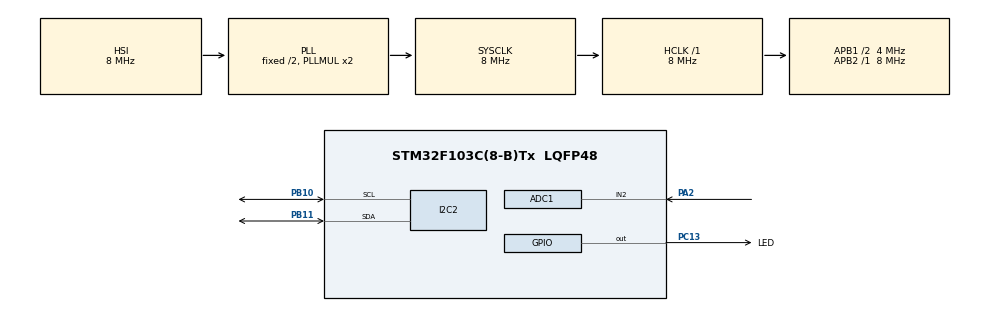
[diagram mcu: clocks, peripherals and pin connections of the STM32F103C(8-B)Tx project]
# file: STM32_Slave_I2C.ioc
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ADC1.Channel-4\#ChannelRegularConversion=ADC_CHANNEL_2
ADC1.ContinuousConvMode=ENABLE
ADC1.NbrOfConversionFlag=1
ADC1.Rank-4\#ChannelRegularConversion=1
ADC1.SamplingTime-4\#ChannelRegularConversion=ADC_SAMPLETIME_239CYCLES_5
ADC1.master=1
Dma.ADC1.0.Direction=DMA_PERIPH_TO_MEMORY
Dma.ADC1.0.Instance=DMA1_Channel1
Dma.ADC1.0.MemDataAlignment=DMA_MDATAALIGN_HALFWORD
Dma.ADC1.0.MemInc=DMA_MINC_ENABLE
Dma.ADC1.0.Mode=DMA_CIRCULAR
Dma.ADC1.0.PeriphDataAlignment=DMA_PDATAALIGN_HALFWORD
Dma.ADC1.0.PeriphInc=DMA_PINC_DISABLE
Dma.ADC1.0.Priority=DMA_PRIORITY_LOW
Dma.I2C2_TX.1.Direction=DMA_MEMORY_TO_PERIPH
Dma.I2C2_TX.1.Instance=DMA1_Channel4
Dma.I2C2_TX.1.MemDataAlignment=DMA_MDATAALIGN_BYTE
Dma.I2C2_TX.1.MemInc=DMA_MINC_ENABLE
Dma.I2C2_TX.1.Mode=DMA_NORMAL
Dma.I2C2_TX.1.PeriphDataAlignment=DMA_PDATAALIGN_BYTE
Dma.I2C2_TX.1.PeriphInc=DMA_PINC_DISABLE
Dma.I2C2_TX.1.Priority=DMA_PRIORITY_HIGH
Dma.Request0=ADC1
Dma.Request1=I2C2_TX
I2C2.GeneralCallMode=I2C_GENERALCALL_DISABLE
I2C2.I2C_Mode=I2C_Standard
I2C2.NoStretchMode=I2C_NOSTRETCH_DISABLE
I2C2.OwnAddress=26
Mcu.Family=STM32F1
Mcu.Name=STM32F103C(8-B)Tx
Mcu.Package=LQFP48
NVIC.DMA1_Channel1_IRQn=true\:0\:0\:false\:false\:true\:false\:true
NVIC.DMA1_Channel4_IRQn=true\:0\:0\:false\:false\:true\:false\:true
NVIC.I2C2_EV_IRQn=true\:1\:0\:true\:false\:true\:true\:true
NVIC.PriorityGroup=NVIC_PRIORITYGROUP_4
PA13.Mode=Serial_Wire
PA13.Signal=SYS_JTMS-SWDIO
PA14.Mode=Serial_Wire
PA14.Signal=SYS_JTCK-SWCLK
PA2.Signal=ADCx_IN2
PB10.Mode=I2C
PB10.Signal=I2C2_SCL
PB11.Mode=I2C
PB11.Signal=I2C2_SDA
PC13-TAMPER-RTC.GPIO_Label=LED
PC13-TAMPER-RTC.GPIO_ModeDefaultOutputPP=GPIO_MODE_OUTPUT_OD
PC13-TAMPER-RTC.GPIO_PuPd=GPIO_NOPULL
PC13-TAMPER-RTC.PinState=GPIO_PIN_SET
PC13-TAMPER-RTC.Signal=GPIO_Output
ProjectManager.HeapSize=0x200
ProjectManager.StackSize=0x400
ProjectManager.TargetToolchain=STM32CubeIDE
RCC.ADCPresc=RCC_ADCPCLK2_DIV6
RCC.AHBFreq_Value=8000000
RCC.APB1CLKDivider=RCC_HCLK_DIV2
RCC.APB1Freq_Value=4000000
RCC.APB1TimFreq_Value=8000000
RCC.APB2Freq_Value=8000000
RCC.APB2TimFreq_Value=8000000
RCC.HCLKFreq_Value=8000000
RCC.SYSCLKFreq_VALUE=8000000
RCC.SYSCLKSource=RCC_SYSCLKSOURCE_PLLCLK
RCC.USBFreq_Value=8000000
SH.ADCx_IN2.0=ADC1_IN2,IN2
board=custom

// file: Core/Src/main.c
/* USER CODE BEGIN Header */
/**
 ******************************************************************************
 * @file           : main.c
 * @brief          : Main program body
 ******************************************************************************
 * @attention
 *
 * Copyright (c) 2021 STMicroelectronics.
 * All rights reserved.
 *
 * This software is licensed under terms that can be found in the LICENSE file
 * in the root directory of this software component.
 * If no LICENSE file comes with this software, it is provided AS-IS.
 *
 ******************************************************************************
 */
/* USER CODE END Header */
#include "main.h"
#include "adc.h"
#include "dma.h"
#include "i2c.h"
#include "gpio.h"

/* USER CODE BEGIN PV */

typedef struct {

    bool ledState;
    uint8_t lastDoneCommandNum;
    float adcVoltage;
    int16_t adcValue;
} StructToTransmit;

StructToTransmit txStruct;

uint16_t adcReading;
uint8_t ledProgramm;

/* USER CODE END PV */

void SystemClock_Config(void);

int main(void)
{

  /* MCU Configuration--------------------------------------------------------*/

  /* Reset of all peripherals, Initializes the Flash interface and the Systick. */
  HAL_Init();

  /* Configure the system clock */
  SystemClock_Config();

  /* Initialize all configured peripherals */
  MX_GPIO_Init();
  MX_DMA_Init();
  MX_ADC1_Init();
  MX_I2C2_Init();
  /* USER CODE BEGIN 2 */

	HAL_ADC_Start_DMA(&hadc1, (uint32_t*) &adcReading, 1); // Start ADC with DMA on channel set in Cube.
	HAL_I2C_EnableListen_IT(&hi2c2); // Start listening for I2C master call.

	uint32_t ledTimer = uwTick;

  /* USER CODE END 2 */

  /* Infinite loop */
  /* USER CODE BEGIN WHILE */
	while (1) {

		switch (ledProgramm) {

		case 1:
			HAL_GPIO_WritePin(LED_GPIO_Port, LED_Pin, 1);
			break;

		case 2:
			HAL_GPIO_WritePin(LED_GPIO_Port, LED_Pin, 0);
			break;

		case 123:

			if (uwTick - ledTimer > 1000) {

				ledTimer = uwTick;
				HAL_GPIO_TogglePin(LED_GPIO_Port, LED_Pin);
			}
			break;
		}

		txStruct.ledState = HAL_GPIO_ReadPin(LED_GPIO_Port, LED_Pin);
		txStruct.lastDoneCommandNum = ledProgramm;
		txStruct.adcValue = adcReading;
		txStruct.adcVoltage = (txStruct.adcValue * 3.3) / 4095;

    /* USER CODE END WHILE */

	}
}

void SystemClock_Config(void)
{
  RCC_OscInitTypeDef RCC_OscInitStruct = {0};
  RCC_ClkInitTypeDef RCC_ClkInitStruct = {0};
  RCC_PeriphCLKInitTypeDef PeriphClkInit = {0};

  /** Initializes the RCC Oscillators according to the specified parameters
  * in the RCC_OscInitTypeDef structure.
  */
  RCC_OscInitStruct.OscillatorType = RCC_OSCILLATORTYPE_HSI;
  RCC_OscInitStruct.HSIState = RCC_HSI_ON;
  RCC_OscInitStruct.HSICalibrationValue = RCC_HSICALIBRATION_DEFAULT;
  RCC_OscInitStruct.PLL.PLLState = RCC_PLL_ON;
  RCC_OscInitStruct.PLL.PLLSource = RCC_PLLSOURCE_HSI_DIV2;
  RCC_OscInitStruct.PLL.PLLMUL = RCC_PLL_MUL2;
  if (HAL_RCC_OscConfig(&RCC_OscInitStruct) != HAL_OK)
  {
    Error_Handler();
  }
  /** Initializes the CPU, AHB and APB buses clocks
  */
  RCC_ClkInitStruct.ClockType = RCC_CLOCKTYPE_HCLK|RCC_CLOCKTYPE_SYSCLK
                              |RCC_CLOCKTYPE_PCLK1|RCC_CLOCKTYPE_PCLK2;
  RCC_ClkInitStruct.SYSCLKSource = RCC_SYSCLKSOURCE_PLLCLK;
  RCC_ClkInitStruct.AHBCLKDivider = RCC_SYSCLK_DIV1;
  RCC_ClkInitStruct.APB1CLKDivider = RCC_HCLK_DIV2;
  RCC_ClkInitStruct.APB2CLKDivider = RCC_HCLK_DIV1;

  if (HAL_RCC_ClockConfig(&RCC_ClkInitStruct, FLASH_LATENCY_0) != HAL_OK)
  {
    Error_Handler();
  }
  PeriphClkInit.PeriphClockSelection = RCC_PERIPHCLK_ADC;
  PeriphClkInit.AdcClockSelection = RCC_ADCPCLK2_DIV6;
  if (HAL_RCCEx_PeriphCLKConfig(&PeriphClkInit) != HAL_OK)
  {
    Error_Handler();
  }
}

/* USER CODE BEGIN 4 */

void HAL_I2C_AddrCallback(I2C_HandleTypeDef *hi2c, uint8_t TransferDirection, uint16_t AddrMatchCode) {

	HAL_I2C_DisableListen_IT(hi2c);
	if (!TransferDirection) {
		HAL_I2C_Slave_Transmit(hi2c, (uint8_t*) &txStruct, sizeof(txStruct), 5);
	}
	else {
		HAL_I2C_Slave_Receive(hi2c, &ledProgramm, sizeof(ledProgramm), 5);
	}
	HAL_I2C_EnableListen_IT(hi2c);
}

/* USER CODE END 4 */

void Error_Handler(void)
{
	__disable_irq();
	while (1) {
	}
}
